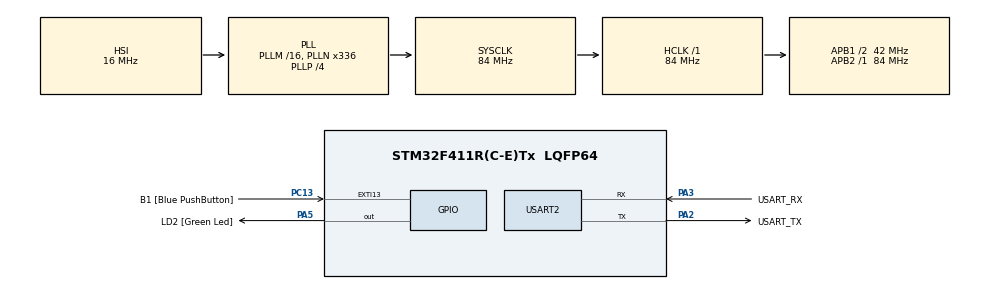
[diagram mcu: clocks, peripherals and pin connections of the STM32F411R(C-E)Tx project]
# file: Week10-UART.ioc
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Mcu.Family=STM32F4
PC15-OSC32_OUT.Mode=LSE-External-Oscillator
RCC.CortexFreq_Value=84000000
PC13-ANTI_TAMP.GPIO_Label=B1 [Blue PushButton]
PA14.GPIO_Label=TCK
PH1\ -\ OSC_OUT.Mode=HSE-External-Clock-Source
RCC.APB1CLKDivider=RCC_HCLK_DIV2
PC14-OSC32_IN.Signal=RCC_OSC32_IN
NVIC.USART2_IRQn=true\:0\:0\:false\:false\:true\:true\:true
RCC.SYSCLKSource=RCC_SYSCLKSOURCE_PLLCLK
ProjectManager.StackSize=0x400
PA13.Signal=SYS_JTMS-SWDIO
PA3.Mode=Asynchronous
PH0\ -\ OSC_IN.Mode=HSE-External-Clock-Source
PH0\ -\ OSC_IN.Signal=RCC_OSC_IN
ProjectManager.TargetToolchain=STM32CubeIDE
RCC.HCLKFreq_Value=84000000
RCC.APB2TimFreq_Value=84000000
PC15-OSC32_OUT.Signal=RCC_OSC32_OUT
RCC.AHBFreq_Value=84000000
PA5.Signal=GPIO_Output
RCC.HSE_VALUE=8000000
PH1\ -\ OSC_OUT.Signal=RCC_OSC_OUT
board=NUCLEO-F411RE
PC13-ANTI_TAMP.Signal=GPXTI13
RCC.VCOOutputFreq_Value=336000000
RCC.APB2Freq_Value=84000000
PC14-OSC32_IN.Mode=LSE-External-Oscillator
PA14.Mode=Serial_Wire
PA13.Mode=Serial_Wire
Mcu.Name=STM32F411R(C-E)Tx
PA2.Signal=USART2_TX
PA13.GPIO_Label=TMS
RCC.FLatency-AdvancedSettings=FLASH_LATENCY_2
RCC.48MHZClocksFreq_Value=84000000
PB3.Signal=SYS_JTDO-SWO
RCC.SYSCLKFreq_VALUE=84000000
Mcu.Package=LQFP64
PA5.GPIO_Label=LD2 [Green Led]
USART2.VirtualMode=VM_ASYNC
PC13-ANTI_TAMP.GPIO_ModeDefaultEXTI=GPIO_MODE_IT_FALLING
PA2.GPIO_Label=USART_TX
PA14.Signal=SYS_JTCK-SWCLK
ProjectManager.HeapSize=0x200
RCC.HSI_VALUE=16000000
RCC.PLLP=RCC_PLLP_DIV4
NVIC.PriorityGroup=NVIC_PRIORITYGROUP_0
RCC.PLLN=336
RCC.APB1TimFreq_Value=84000000
PA2.Mode=Asynchronous
RCC.APB1Freq_Value=42000000
PA3.GPIO_Label=USART_RX
PA3.Signal=USART2_RX
PB3.GPIO_Label=SWO

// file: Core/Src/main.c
/* USER CODE BEGIN Header */
/**
 ******************************************************************************
 * @file           : main.c
 * @brief          : Main program body
 ******************************************************************************
 * @attention
 *
 * <h2><center>&copy; Copyright (c) 2021 STMicroelectronics.
 * All rights reserved.</center></h2>
 *
 * This software component is licensed by ST under BSD 3-Clause license,
 * the "License"; You may not use this file except in compliance with the
 * License. You may obtain a copy of the License at:
 *                        opensource.org/licenses/BSD-3-Clause
 *
 ******************************************************************************
 */
/* USER CODE END Header */
#include "main.h"

/* USER CODE BEGIN Includes */
#include <stdio.h>
#include <string.h>
/* USER CODE END Includes */

UART_HandleTypeDef huart2;

/* USER CODE BEGIN PV */
char TxDataBuffer[32] =
{ 0 };
char KxDataBuffer[32] =
{ 0 };
char RxDataBuffer[32] =
{ 0 };
uint64_t timestamp=0;
uint64_t y=1;
uint16_t STATE_Display=0;
uint64_t f = 1;
uint64_t fo=0;
enum _StateDisplay
{
  StateDisplay_Start = 0,
  StateDisplay_MenuRoot_Print = 10,
  StateDisplay_MenuRoot_WaitInput,
  StateDisplay_Menu1_Print = 20,
  StateDisplay_Menu1_WaitInput,
  StateDisplay_Menu2_Print = 30,
  StateDisplay_Menu2_WaitInput,

};
/* USER CODE END PV */

void SystemClock_Config(void);
static void MX_GPIO_Init(void);
static void MX_USART2_UART_Init(void);
/* USER CODE BEGIN PFP */
void UARTRecieveAndResponsePolling();
int16_t UARTRecieveIT();
/* USER CODE END PFP */

int main(void)
{

  /* MCU Configuration--------------------------------------------------------*/

  /* Reset of all peripherals, Initializes the Flash interface and the Systick. */
 HAL_Init();

  /* Configure the system clock */
  SystemClock_Config();

  /* Initialize all configured peripherals */
  MX_GPIO_Init();
  MX_USART2_UART_Init();

  /* Infinite loop */
  /* USER CODE BEGIN WHILE */
	while (1)
	{
		/*Method 1 Polling Mode*/

//		UARTRecieveAndResponsePolling();

		/*Method 2 Interrupt Mode*/
		HAL_UART_Receive_IT(&huart2,  (uint8_t*)RxDataBuffer, 32);

		/*Method 2 W/ 1 Char Received*/
		int16_t inputchar = UARTRecieveIT();
		if(inputchar!=-1)
		{
			sprintf(TxDataBuffer, "ReceivedChar:[%c]\r\n", inputchar);
			HAL_UART_Transmit(&huart2, (uint8_t*)TxDataBuffer, strlen(TxDataBuffer), 1000);
		}
	    switch (STATE_Display)
	    {
	    case StateDisplay_Start:
	      STATE_Display = StateDisplay_MenuRoot_Print;
	      break;
	    case StateDisplay_MenuRoot_Print:
	    {
	      char temp[]="Menu\r\n 0.LED CONTROL\r\n 1.BUTTON STATUS\r\n";
	      HAL_UART_Transmit(&huart2, (uint8_t*)temp, strlen(temp),10);
	    }
	          STATE_Display = StateDisplay_MenuRoot_WaitInput;
	          break;

	        case StateDisplay_MenuRoot_WaitInput:
	          switch (inputchar)
	          {
	          case -1:
	            break;
	          case '0':
	            STATE_Display = StateDisplay_Menu1_Print;
	            break;
	          case '1':
	          	STATE_Display = StateDisplay_Menu2_Print;
	          	break;
	          default:
	          {
	         	char temp[]="You pressed the wrong button, please try again.\r\n";
	         	HAL_UART_Transmit(&huart2, (uint8_t*)temp, strlen(temp),10);
	          }
	            STATE_Display = StateDisplay_MenuRoot_Print;
	            break;
	          }
	          break;
	    case StateDisplay_Menu1_Print: //display one time state
	          switch (inputchar)
	          {
	          case -1:
	            {
	         	 char temp[]="Menu LED CONTROL\r\n a.Speed Up +1Hz\r\n s.Speed Down -1Hz \r\n d.On/Off \r\n x.Back \r\n";
	         	 HAL_UART_Transmit(&huart2, (uint8_t*)temp, strlen(temp),10);
	            }
	            STATE_Display = StateDisplay_Menu1_WaitInput;
	            break;
	          default:
	          {
	         	char temp[]="You pressed the wrong button, please try again.\r\n";
	         	HAL_UART_Transmit(&huart2, (uint8_t*)temp, strlen(temp),10);
	         }
	            STATE_Display = StateDisplay_MenuRoot_Print;
	            break;
	          }
	          break;
	     case StateDisplay_Menu1_WaitInput:
	           switch (inputchar)
	           {
	           case -1:
	           	break;
	           case 'x':
	        	   f=1;
	           	STATE_Display = StateDisplay_MenuRoot_Print;
	           	break;
	           case 'd':
	        	if(y==1)
	        	{
				fo=f;
				f=0;
				HAL_GPIO_WritePin(GPIOA, GPIO_PIN_5, GPIO_PIN_RESET);
				{
			     char temp[]="LED OFF\r\n ";
			     HAL_UART_Transmit(&huart2, (uint8_t*)temp, strlen(temp),10);
				}
				y=0;
				}
                else
                {
                f=fo;
                {
                 char temp[]="LED ON\r\n ";
                 HAL_UART_Transmit(&huart2, (uint8_t*)temp, strlen(temp),10);
                }
                y=1;
                }
	           	break;
	           case 'a':
	           	f += 1;
	           	sprintf(KxDataBuffer, "Freq=%dHz \r\n", f);
	           	HAL_UART_Transmit(&huart2, (uint8_t*)KxDataBuffer, strlen(KxDataBuffer), 1000);
	           	break;
	           case 's':
	           	f -= 1;
	           	sprintf(KxDataBuffer, "Freq=%dHz \r\n", f);
	           	HAL_UART_Transmit(&huart2, (uint8_t*)KxDataBuffer, strlen(KxDataBuffer), 1000);
	           	break;
	           default:
	           {
	            char temp[]="You pressed the wrong button, please try again.\r\n";
	        	HAL_UART_Transmit(&huart2, (uint8_t*)temp, strlen(temp),10);
	           }
	           	STATE_Display = StateDisplay_Menu1_Print;
	           	break;
	           }
	           break;
	           case StateDisplay_Menu2_Print: //display one time state
	          	          switch (inputchar)
	          	          {
	          	          case -1:
	          	            {
	          	         	 char temp[]="Menu Button Status\r\n Press or Unpress\r\n x.Back \r\n";
	          	         	 HAL_UART_Transmit(&huart2, (uint8_t*)temp, strlen(temp),10);
	          	            }
	          	            STATE_Display = StateDisplay_Menu2_WaitInput;
	          	            break;
	          	          default:
	          	           {
	          	       	     char temp[]="You pressed the wrong button, please try again.\r\n";
	          	       	     HAL_UART_Transmit(&huart2, (uint8_t*)temp, strlen(temp),10);
	          	       	   }
	          	            STATE_Display = StateDisplay_MenuRoot_Print;
	          	            break;
	          	          }
	          	          break;
	          case StateDisplay_Menu2_WaitInput:
	            switch (inputchar)
	            {
	            case -1:
	            	if(HAL_GPIO_ReadPin(GPIOC, GPIO_PIN_13)==GPIO_PIN_RESET)
	                {
	            		{
	            	     char temp[]="PRESS\r\n";
	            		 HAL_UART_Transmit(&huart2, (uint8_t*)temp, strlen(temp),10);
	            	    }
	                }
	            	else
	            	{
	            		{
	            		 char temp[]="UNPRESS\r\n";
	            		 HAL_UART_Transmit(&huart2, (uint8_t*)temp, strlen(temp),10);
	            		}
	            	}
	              break;
	            case 'x':
	              STATE_Display = StateDisplay_MenuRoot_Print;
	              break;
	            default:
	            {
	           	  char temp[]="You pressed the wrong button, please try again.\r\n";
	           	  HAL_UART_Transmit(&huart2, (uint8_t*)temp, strlen(temp),10);
	           	}
	              STATE_Display = StateDisplay_Menu2_Print;
	              break;
	            }
	            break;
	          }
	    if(HAL_GetTick()-timestamp>=500/f)
	   	  			{
	   	  				timestamp=HAL_GetTick();
	   	  				if(HAL_GPIO_ReadPin(GPIOA, GPIO_PIN_5)==GPIO_PIN_SET)
	   	  				{
	   	  					HAL_GPIO_WritePin(GPIOA, GPIO_PIN_5, GPIO_PIN_RESET);
	   	  				}
	   	  				else
	   	  				{
	   	  					HAL_GPIO_WritePin(GPIOA, GPIO_PIN_5, GPIO_PIN_SET);
	   	  				}
	   	  			}

		/*This section just simmulate Work Load*/

    /* USER CODE END WHILE */

	}
}

void SystemClock_Config(void)
{
  RCC_OscInitTypeDef RCC_OscInitStruct = {0};
  RCC_ClkInitTypeDef RCC_ClkInitStruct = {0};

  /** Configure the main internal regulator output voltage
  */
  __HAL_RCC_PWR_CLK_ENABLE();
  __HAL_PWR_VOLTAGESCALING_CONFIG(PWR_REGULATOR_VOLTAGE_SCALE1);
  /** Initializes the RCC Oscillators according to the specified parameters
  * in the RCC_OscInitTypeDef structure.
  */
  RCC_OscInitStruct.OscillatorType = RCC_OSCILLATORTYPE_HSI;
  RCC_OscInitStruct.HSIState = RCC_HSI_ON;
  RCC_OscInitStruct.HSICalibrationValue = RCC_HSICALIBRATION_DEFAULT;
  RCC_OscInitStruct.PLL.PLLState = RCC_PLL_ON;
  RCC_OscInitStruct.PLL.PLLSource = RCC_PLLSOURCE_HSI;
  RCC_OscInitStruct.PLL.PLLM = 16;
  RCC_OscInitStruct.PLL.PLLN = 336;
  RCC_OscInitStruct.PLL.PLLP = RCC_PLLP_DIV4;
  RCC_OscInitStruct.PLL.PLLQ = 4;
  if (HAL_RCC_OscConfig(&RCC_OscInitStruct) != HAL_OK)
  {
    Error_Handler();
  }
  /** Initializes the CPU, AHB and APB buses clocks
  */
  RCC_ClkInitStruct.ClockType = RCC_CLOCKTYPE_HCLK|RCC_CLOCKTYPE_SYSCLK
                              |RCC_CLOCKTYPE_PCLK1|RCC_CLOCKTYPE_PCLK2;
  RCC_ClkInitStruct.SYSCLKSource = RCC_SYSCLKSOURCE_PLLCLK;
  RCC_ClkInitStruct.AHBCLKDivider = RCC_SYSCLK_DIV1;
  RCC_ClkInitStruct.APB1CLKDivider = RCC_HCLK_DIV2;
  RCC_ClkInitStruct.APB2CLKDivider = RCC_HCLK_DIV1;

  if (HAL_RCC_ClockConfig(&RCC_ClkInitStruct, FLASH_LATENCY_2) != HAL_OK)
  {
    Error_Handler();
  }
}

static void MX_USART2_UART_Init(void)
{

  huart2.Instance = USART2;
  huart2.Init.BaudRate = 115200;
  huart2.Init.WordLength = UART_WORDLENGTH_8B;
  huart2.Init.StopBits = UART_STOPBITS_1;
  huart2.Init.Parity = UART_PARITY_NONE;
  huart2.Init.Mode = UART_MODE_TX_RX;
  huart2.Init.HwFlowCtl = UART_HWCONTROL_NONE;
  huart2.Init.OverSampling = UART_OVERSAMPLING_16;
  if (HAL_UART_Init(&huart2) != HAL_OK)
  {
    Error_Handler();
  }

}

static void MX_GPIO_Init(void)
{
  GPIO_InitTypeDef GPIO_InitStruct = {0};

  /* GPIO Ports Clock Enable */
  __HAL_RCC_GPIOC_CLK_ENABLE();
  __HAL_RCC_GPIOH_CLK_ENABLE();
  __HAL_RCC_GPIOA_CLK_ENABLE();
  __HAL_RCC_GPIOB_CLK_ENABLE();

  /*Configure GPIO pin Output Level */
  HAL_GPIO_WritePin(LD2_GPIO_Port, LD2_Pin, GPIO_PIN_RESET);

  /*Configure GPIO pin : B1_Pin */
  GPIO_InitStruct.Pin = B1_Pin;
  GPIO_InitStruct.Mode = GPIO_MODE_IT_FALLING;
  GPIO_InitStruct.Pull = GPIO_NOPULL;
  HAL_GPIO_Init(B1_GPIO_Port, &GPIO_InitStruct);

  /*Configure GPIO pin : LD2_Pin */
  GPIO_InitStruct.Pin = LD2_Pin;
  GPIO_InitStruct.Mode = GPIO_MODE_OUTPUT_PP;
  GPIO_InitStruct.Pull = GPIO_NOPULL;
  GPIO_InitStruct.Speed = GPIO_SPEED_FREQ_LOW;
  HAL_GPIO_Init(LD2_GPIO_Port, &GPIO_InitStruct);

}

/* USER CODE BEGIN 4 */
void UARTRecieveAndResponsePolling()
{
	char Recieve[32]={0};

	HAL_UART_Receive(&huart2, (uint8_t*)Recieve, 32, 1000);

	sprintf(TxDataBuffer, "Received:[%s]\r\n", Recieve);
	HAL_UART_Transmit(&huart2, (uint8_t*)TxDataBuffer, strlen(TxDataBuffer), 1000);

}

int16_t UARTRecieveIT()
{
	static uint32_t dataPos =0;
	int16_t data=-1;
	if(huart2.RxXferSize - huart2.RxXferCount!=dataPos)
	{
		data=RxDataBuffer[dataPos];
		dataPos= (dataPos+1)%huart2.RxXferSize;
	}
	return data;
}

void HAL_UART_RxCpltCallback(UART_HandleTypeDef *huart)
{
	sprintf(TxDataBuffer, "Received:[%s]\r\n", RxDataBuffer);
	HAL_UART_Transmit(&huart2, (uint8_t*)TxDataBuffer, strlen(TxDataBuffer), 1000);
}
/* USER CODE END 4 */

void Error_Handler(void)
{
	__disable_irq();
	while (1)
	{
	}
}

/************************ (C) COPYRIGHT STMicroelectronics *****END OF FILE****/
